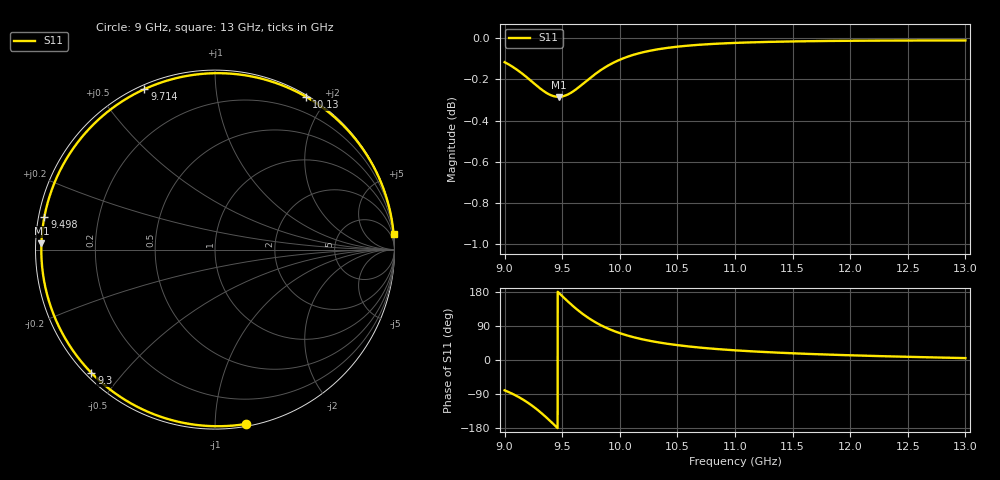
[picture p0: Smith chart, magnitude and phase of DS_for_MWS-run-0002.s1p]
! TOUCHSTONE file generated by CST DESIGN STUDIO
! Date and time: Tue Feb  4 12:39:02 2025
! Project name: C:\Work\MatlabApps\UnitCellOptimizationMatlab\CST\unitcell.cst
! Tree item: Tasks\Sweep1\SPara1\S-Parameters
! Header version: 2024
! Port assignment regex: !\s*Touchstone port\s*([0-9]+)\s*=\s*(CST MWS port|CST DES external port|CST DES block port)\s*(.+)\s* \(\"(.*)\"\)(\s*mode\s*([0-9]+))?.*
! Touchstone port assignment:
! Touchstone port 1 = CST DES external port 1 ("")
# GHz S MA R 50
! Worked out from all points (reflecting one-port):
!   4001 points, 9 GHz to 13 GHz, reference 50 ohm
!   lowest |S11| = -0.3 dB at 9.468 GHz (marker M1), VSWR 61.07, Z = 0.819 + j0.906 ohm
!   phase of S11 starts at -80 deg and turns -275 deg over the sweep
!   S11 on the Smith chart (normalised r, x): 9 GHz: 0.02, -1.19; 9.3 GHz: 0.02, -0.41; 9.498 GHz: 0.02, +0.10; 9.714 GHz: 0.02, +0.65; 10.13 GHz: 0.02, +1.76; 13 GHz: 0, +23
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9  0.9867 -80.0
9.073  0.984 -90.0
9.169  0.9796 -106.2
9.237  0.9761 -120.1
9.3  0.9728 -135.1
9.344  0.9707 -146.6
9.391  0.969 -159.6
9.43  0.9681 -170.9
9.468  0.9678 177.9
9.498  0.968 169.1
9.5  0.968 168.5
9.551  0.9691 153.9
9.61  0.9714 138.0
9.661  0.9739 125.5
9.714  0.9766 113.7
9.771  0.9794 102.6
9.834  0.9823 92.0
9.915  0.9855 80.6
10  0.9881 70.9
10.133  0.9911 59.1
10.298  0.9935 48.5
10.5  0.9953 39.2
10.722  0.9965 32.0
11  0.9974 25.5
11.5  0.9983 17.7
12  0.9986 12.4
12.5  0.9988 8.4
13  0.9988 5.0
